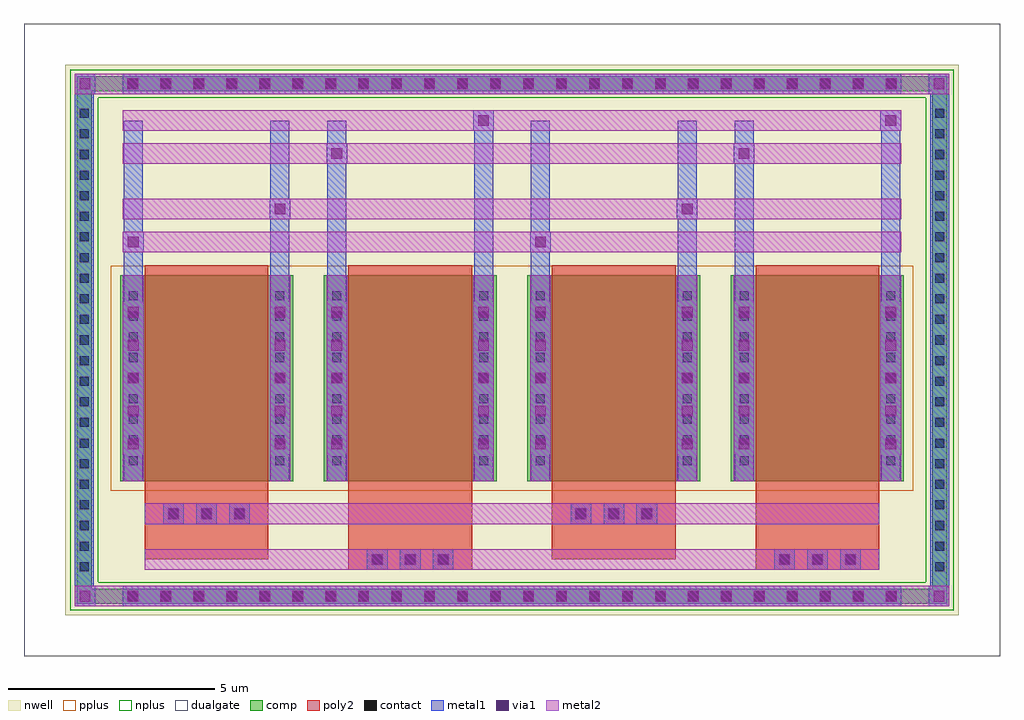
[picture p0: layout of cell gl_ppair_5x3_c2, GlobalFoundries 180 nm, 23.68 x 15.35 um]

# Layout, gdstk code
import gdstk
lib = gdstk.Library(unit=1e-6, precision=1e-09)
def R(c, l, rs):  # rectangles x0, y0, x1, y1
    for r in rs: c.add(gdstk.rectangle(r[:2], r[2:], *l))
def A(c, l, x, y, w, h, nx, ny, dx, dy):  # array of equal rectangles
    R(c, l, [(x+i*dx, y+j*dy, x+i*dx+w, y+j*dy+h) for i in range(nx) for j in range(ny)])
def P(c, l, *ps):  # polygons
    for p in ps: c.add(gdstk.Polygon(p, *l))
nwell = (21, 0)
comp = (22, 0)
poly2 = (30, 0)
pplus = (31, 0)
nplus = (32, 0)
contact = (33, 0)
metal1 = (34, 0)
via1 = (35, 0)
metal2 = (36, 0)
dualgate = (55, 0)

gl_ppair_5x3_c2 = lib.new_cell('gl_ppair_5x3_c2')
R(gl_ppair_5x3_c2, nwell, [(-10.84,-6.675,10.84,6.675), (-10.68,-6.515,10.68,6.515)])
A(gl_ppair_5x3_c2, comp, -9.38, -6.395, 0.36, 0.36, 24, 2, 0.8, 12.43)
A(gl_ppair_5x3_c2, comp, -10.56, -5.68, 0.36, 0.36, 1, 23, 0, 0.5)
A(gl_ppair_5x3_c2, comp, 10.2, -5.68, 0.36, 0.36, 1, 23, 0, 0.5)
A(gl_ppair_5x3_c2, comp, -9.51, -3.425, 4.2, 5, 4, 1, 4.94, 0)
R(gl_ppair_5x3_c2, comp, [(-9.38,-6.395,9.38,-6.035), (-10.56,-5.68,-10.2,5.68), (10.2,-5.68,10.56,5.68), (-9.38,6.035,9.38,6.395)])
P(gl_ppair_5x3_c2, comp, [(-10.56,-6.395),(-10.56,-6.035),(-10.2,-6.035),(10.2,-6.035),(10.2,6.035),(-10.2,6.035),(-10.2,-6.035),(-10.56,-6.035),(-10.56,6.395),(10.56,6.395),(10.56,-6.395)])
A(gl_ppair_5x3_c2, poly2, -3.45, -5.505, 0.36, 0.36, 3, 1, 0.8, 0)
A(gl_ppair_5x3_c2, poly2, 6.43, -5.505, 0.36, 0.36, 3, 1, 0.8, 0)
A(gl_ppair_5x3_c2, poly2, -8.39, -4.395, 0.36, 0.36, 3, 1, 0.8, 0)
A(gl_ppair_5x3_c2, poly2, 1.49, -4.395, 0.36, 0.36, 3, 1, 0.8, 0)
A(gl_ppair_5x3_c2, poly2, -8.91, -3.665, 3, 5.48, 4, 1, 4.94, 0)
R(gl_ppair_5x3_c2, poly2, [(-3.97,-5.575,-0.97,-5.075), (5.91,-5.575,8.91,-5.075), (-8.91,-5.325,-5.91,-3.665), (0.97,-5.325,3.97,-3.665), (-3.97,-5.075,-0.97,-3.665), (5.91,-5.075,8.91,-3.665), (-8.91,-4.465,-5.91,-3.965), (0.97,-4.465,3.97,-3.965), (-8.91,-3.965,-5.91,-3.665), (0.97,-3.965,3.97,-3.665)])
A(gl_ppair_5x3_c2, pplus, -9.74, -3.655, 4.66, 5.46, 4, 1, 4.94, 0)
R(gl_ppair_5x3_c2, pplus, [(-9.74,-3.655,9.74,1.805)])
P(gl_ppair_5x3_c2, nplus, [(-10.72,-6.555),(-10.72,-5.875),(-10.04,-5.875),(10.04,-5.875),(10.04,5.875),(-10.04,5.875),(-10.04,-5.875),(-10.72,-5.875),(-10.72,6.555),(10.72,6.555),(10.72,-6.555)])
A(gl_ppair_5x3_c2, contact, -9.31, -6.325, 0.22, 0.22, 24, 2, 0.8, 12.43)
A(gl_ppair_5x3_c2, contact, -10.49, -5.61, 0.22, 0.22, 1, 23, 0, 0.5)
A(gl_ppair_5x3_c2, contact, 10.27, -5.61, 0.22, 0.22, 1, 23, 0, 0.5)
A(gl_ppair_5x3_c2, contact, -3.38, -5.435, 0.22, 0.22, 3, 1, 0.8, 0)
A(gl_ppair_5x3_c2, contact, 6.5, -5.435, 0.22, 0.22, 3, 1, 0.8, 0)
A(gl_ppair_5x3_c2, contact, -8.32, -4.325, 0.22, 0.22, 3, 1, 0.8, 0)
A(gl_ppair_5x3_c2, contact, 1.56, -4.325, 0.22, 0.22, 3, 1, 0.8, 0)
A(gl_ppair_5x3_c2, contact, -9.3, -3.035, 0.22, 0.22, 1, 9, 0, 0.5)
A(gl_ppair_5x3_c2, contact, -5.74, -3.035, 0.22, 0.22, 1, 9, 0, 0.5)
A(gl_ppair_5x3_c2, contact, -4.36, -3.035, 0.22, 0.22, 1, 9, 0, 0.5)
A(gl_ppair_5x3_c2, contact, -0.8, -3.035, 0.22, 0.22, 1, 9, 0, 0.5)
A(gl_ppair_5x3_c2, contact, 0.58, -3.035, 0.22, 0.22, 1, 9, 0, 0.5)
A(gl_ppair_5x3_c2, contact, 4.14, -3.035, 0.22, 0.22, 1, 9, 0, 0.5)
A(gl_ppair_5x3_c2, contact, 5.52, -3.035, 0.22, 0.22, 1, 9, 0, 0.5)
A(gl_ppair_5x3_c2, contact, 9.08, -3.035, 0.22, 0.22, 1, 9, 0, 0.5)
A(gl_ppair_5x3_c2, metal1, -9.45, -6.465, 0.5, 0.5, 24, 2, 0.8, 12.43)
A(gl_ppair_5x3_c2, metal1, -10.61, -5.73, 0.46, 0.46, 1, 23, 0, 0.5)
A(gl_ppair_5x3_c2, metal1, 10.15, -5.73, 0.46, 0.46, 1, 23, 0, 0.5)
A(gl_ppair_5x3_c2, metal1, -3.52, -5.575, 0.5, 0.5, 3, 1, 0.8, 0)
A(gl_ppair_5x3_c2, metal1, 6.36, -5.575, 0.5, 0.5, 3, 1, 0.8, 0)
A(gl_ppair_5x3_c2, metal1, -8.46, -4.465, 0.5, 0.5, 3, 1, 0.8, 0)
A(gl_ppair_5x3_c2, metal1, 1.42, -4.465, 0.5, 0.5, 3, 1, 0.8, 0)
A(gl_ppair_5x3_c2, metal1, -9.42, -3.155, 0.46, 0.46, 1, 9, 0, 0.5)
A(gl_ppair_5x3_c2, metal1, -5.86, -3.155, 0.46, 0.46, 1, 9, 0, 0.5)
A(gl_ppair_5x3_c2, metal1, -4.48, -3.155, 0.46, 0.46, 1, 9, 0, 0.5)
A(gl_ppair_5x3_c2, metal1, -0.92, -3.155, 0.46, 0.46, 1, 9, 0, 0.5)
A(gl_ppair_5x3_c2, metal1, 0.46, -3.155, 0.46, 0.46, 1, 9, 0, 0.5)
A(gl_ppair_5x3_c2, metal1, 4.02, -3.155, 0.46, 0.46, 1, 9, 0, 0.5)
A(gl_ppair_5x3_c2, metal1, 5.4, -3.155, 0.46, 0.46, 1, 9, 0, 0.5)
A(gl_ppair_5x3_c2, metal1, 8.96, -3.155, 0.46, 0.46, 1, 9, 0, 0.5)
A(gl_ppair_5x3_c2, metal1, -9.44, -2.775, 0.5, 0.5, 1, 5, 0, 0.8)
A(gl_ppair_5x3_c2, metal1, -5.88, -2.775, 0.5, 0.5, 1, 5, 0, 0.8)
A(gl_ppair_5x3_c2, metal1, -4.5, -2.775, 0.5, 0.5, 1, 5, 0, 0.8)
A(gl_ppair_5x3_c2, metal1, -0.94, -2.775, 0.5, 0.5, 1, 5, 0, 0.8)
A(gl_ppair_5x3_c2, metal1, 0.44, -2.775, 0.5, 0.5, 1, 5, 0, 0.8)
A(gl_ppair_5x3_c2, metal1, 4, -2.775, 0.5, 0.5, 1, 5, 0, 0.8)
A(gl_ppair_5x3_c2, metal1, 5.38, -2.775, 0.5, 0.5, 1, 5, 0, 0.8)
A(gl_ppair_5x3_c2, metal1, 8.94, -2.775, 0.5, 0.5, 1, 5, 0, 0.8)
R(gl_ppair_5x3_c2, metal1, [(-10.61,-6.465,-10.11,-5.965), (-10.61,-6.465,-10.11,-5.965), (-10.61,-6.465,-10.15,-6.035), (-9.45,-6.465,9.45,-5.965), (10.11,-6.465,10.61,-5.965), (10.11,-6.465,10.61,-5.965), (10.15,-6.465,10.61,-6.035), (-10.61,-6.035,-10.15,6.035), (10.15,-6.035,10.61,6.035), (-9.42,-3.425,-8.96,1.575), (-5.86,-3.425,-5.4,1.575), (-4.48,-3.425,-4.02,1.575), (-0.92,-3.425,-0.46,1.575), (0.46,-3.425,0.92,1.575), (4.02,-3.425,4.48,1.575), (5.4,-3.425,5.86,1.575), (8.96,-3.425,9.42,1.575), (-9.44,-2.775,-8.94,0.925), (-5.88,-2.775,-5.38,0.925), (-4.5,-2.775,-4,0.925), (-0.94,-2.775,-0.44,0.925), (0.44,-2.775,0.94,0.925), (4,-2.775,4.5,0.925), (5.38,-2.775,5.88,0.925), (8.94,-2.775,9.44,0.925), (-9.42,1.575,-8.96,5.325), (-9.42,1.575,-8.96,2.625), (-5.86,1.575,-5.4,3.425), (-5.86,1.575,-5.4,5.325), (-4.48,1.575,-4.02,4.775), (-4.48,1.575,-4.02,5.325), (-0.92,1.575,-0.46,5.575), (-0.92,1.575,-0.46,5.325), (0.46,1.575,0.92,5.325), (0.46,1.575,0.92,2.625), (4.02,1.575,4.48,3.425), (4.02,1.575,4.48,5.325), (5.4,1.575,5.86,4.775), (5.4,1.575,5.86,5.325), (8.96,1.575,9.42,5.575), (8.96,1.575,9.42,5.325), (-9.44,2.125,-8.94,2.625), (0.44,2.125,0.94,2.625), (-5.88,2.925,-5.38,3.425), (4,2.925,4.5,3.425), (-4.5,4.275,-4,4.775), (5.38,4.275,5.88,4.775), (-0.94,5.075,-0.44,5.575), (8.94,5.075,9.44,5.575), (-10.61,5.965,-10.11,6.465), (-10.61,5.965,-10.11,6.465), (-9.45,5.965,9.45,6.465), (10.11,5.965,10.61,6.465), (10.11,5.965,10.61,6.465), (-10.61,6.035,-10.15,6.465), (10.15,6.035,10.61,6.465)])
A(gl_ppair_5x3_c2, via1, -9.33, -6.345, 0.26, 0.26, 24, 2, 0.8, 12.43)
A(gl_ppair_5x3_c2, via1, -3.4, -5.455, 0.26, 0.26, 3, 1, 0.8, 0)
A(gl_ppair_5x3_c2, via1, 6.48, -5.455, 0.26, 0.26, 3, 1, 0.8, 0)
A(gl_ppair_5x3_c2, via1, -8.34, -4.345, 0.26, 0.26, 3, 1, 0.8, 0)
A(gl_ppair_5x3_c2, via1, 1.54, -4.345, 0.26, 0.26, 3, 1, 0.8, 0)
A(gl_ppair_5x3_c2, via1, -9.32, -2.655, 0.26, 0.26, 1, 5, 0, 0.8)
A(gl_ppair_5x3_c2, via1, -5.76, -2.655, 0.26, 0.26, 1, 5, 0, 0.8)
A(gl_ppair_5x3_c2, via1, -4.38, -2.655, 0.26, 0.26, 1, 5, 0, 0.8)
A(gl_ppair_5x3_c2, via1, -0.82, -2.655, 0.26, 0.26, 1, 5, 0, 0.8)
A(gl_ppair_5x3_c2, via1, 0.56, -2.655, 0.26, 0.26, 1, 5, 0, 0.8)
A(gl_ppair_5x3_c2, via1, 4.12, -2.655, 0.26, 0.26, 1, 5, 0, 0.8)
A(gl_ppair_5x3_c2, via1, 5.5, -2.655, 0.26, 0.26, 1, 5, 0, 0.8)
A(gl_ppair_5x3_c2, via1, 9.06, -2.655, 0.26, 0.26, 1, 5, 0, 0.8)
R(gl_ppair_5x3_c2, via1, [(-10.49,-6.345,-10.23,-6.085), (10.23,-6.345,10.49,-6.085), (-9.32,2.245,-9.06,2.505), (0.56,2.245,0.82,2.505), (-5.76,3.045,-5.5,3.305), (4.12,3.045,4.38,3.305), (-4.38,4.395,-4.12,4.655), (5.5,4.395,5.76,4.655), (-0.82,5.195,-0.56,5.455), (9.06,5.195,9.32,5.455), (-10.49,6.085,-10.23,6.345), (10.23,6.085,10.49,6.345)])
A(gl_ppair_5x3_c2, metal2, -9.45, -6.465, 0.5, 0.5, 24, 2, 0.8, 12.43)
A(gl_ppair_5x3_c2, metal2, -3.52, -5.575, 0.5, 0.5, 3, 1, 0.8, 0)
A(gl_ppair_5x3_c2, metal2, 6.36, -5.575, 0.5, 0.5, 3, 1, 0.8, 0)
A(gl_ppair_5x3_c2, metal2, -8.46, -4.465, 0.5, 0.5, 3, 1, 0.8, 0)
A(gl_ppair_5x3_c2, metal2, 1.42, -4.465, 0.5, 0.5, 3, 1, 0.8, 0)
A(gl_ppair_5x3_c2, metal2, -9.44, -2.775, 0.5, 0.5, 1, 5, 0, 0.8)
A(gl_ppair_5x3_c2, metal2, -5.88, -2.775, 0.5, 0.5, 1, 5, 0, 0.8)
A(gl_ppair_5x3_c2, metal2, -4.5, -2.775, 0.5, 0.5, 1, 5, 0, 0.8)
A(gl_ppair_5x3_c2, metal2, -0.94, -2.775, 0.5, 0.5, 1, 5, 0, 0.8)
A(gl_ppair_5x3_c2, metal2, 0.44, -2.775, 0.5, 0.5, 1, 5, 0, 0.8)
A(gl_ppair_5x3_c2, metal2, 4, -2.775, 0.5, 0.5, 1, 5, 0, 0.8)
A(gl_ppair_5x3_c2, metal2, 5.38, -2.775, 0.5, 0.5, 1, 5, 0, 0.8)
A(gl_ppair_5x3_c2, metal2, 8.94, -2.775, 0.5, 0.5, 1, 5, 0, 0.8)
R(gl_ppair_5x3_c2, metal2, [(-10.61,-6.465,-10.11,-5.965), (-10.61,-6.465,-10.11,-5.965), (-10.61,-6.465,-10.2,-5.965), (-10.2,-6.465,10.2,-5.965), (10.11,-6.465,10.61,-5.965), (10.11,-6.465,10.61,-5.965), (10.2,-6.465,10.61,-5.965), (-8.91,-5.575,8.91,-5.075), (-3.97,-5.575,-0.97,-5.075), (5.91,-5.575,8.91,-5.075), (-8.91,-4.465,8.91,-3.965), (-8.91,-4.465,-5.91,-3.965), (0.97,-4.465,3.97,-3.965), (-9.44,-3.425,-8.94,1.575), (-5.88,-3.425,-5.38,1.575), (-4.5,-3.425,-4,1.575), (-0.94,-3.425,-0.44,1.575), (0.44,-3.425,0.94,1.575), (4,-3.425,4.5,1.575), (5.38,-3.425,5.88,1.575), (8.94,-3.425,9.44,1.575), (-9.44,2.125,-8.94,2.625), (-9.44,2.125,9.44,2.625), (-9.44,2.125,-5.38,2.625), (0.44,2.125,0.94,2.625), (0.44,2.125,4.5,2.625), (-9.44,2.925,9.44,3.425), (-9.44,2.925,-5.38,3.425), (-5.88,2.925,-5.38,3.425), (0.44,2.925,4.5,3.425), (4,2.925,4.5,3.425), (-9.44,4.275,9.44,4.775), (-4.5,4.275,-4,4.775), (-4.5,4.275,-0.44,4.775), (5.38,4.275,5.88,4.775), (5.38,4.275,9.44,4.775), (-9.44,5.075,9.44,5.575), (-4.5,5.075,-0.44,5.575), (-0.94,5.075,-0.44,5.575), (5.38,5.075,9.44,5.575), (8.94,5.075,9.44,5.575), (-10.61,5.965,-10.11,6.465), (-10.61,5.965,-10.11,6.465), (-10.61,5.965,-10.2,6.465), (-10.2,5.965,10.2,6.465), (10.11,5.965,10.61,6.465), (10.11,5.965,10.61,6.465), (10.2,5.965,10.61,6.465)])
R(gl_ppair_5x3_c2, dualgate, [(-11.84,-7.675,11.84,7.675)])

lib.write_gds('gl_ppair_5x3_c2.gds')
